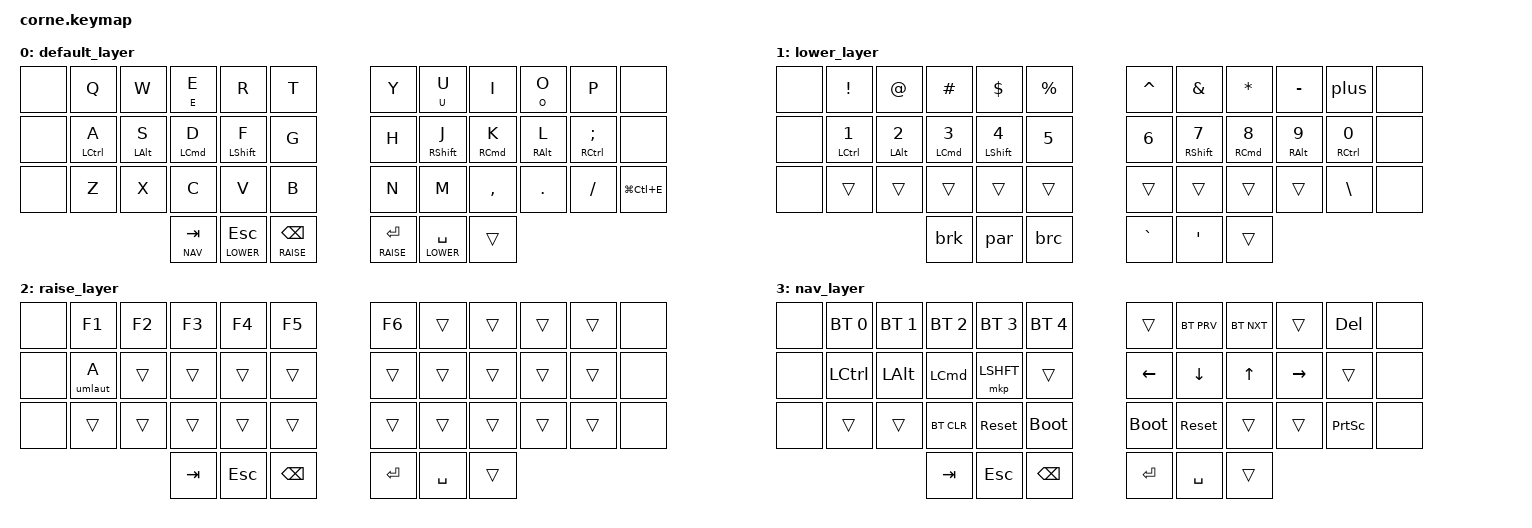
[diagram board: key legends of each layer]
/*
 * Copyright (c) 2020 The ZMK Contributors
 *
 * SPDX-License-Identifier: MIT
 */

#include <behaviors.dtsi>
#include <dt-bindings/zmk/keys.h>
#include <dt-bindings/zmk/bt.h>

#define DEFAULT 0
#define LOWER   1
#define RAISE   2
#define NAV     3

// todo: make dongle work.
// https://github.com/zmkfirmware/zmk/tree/main/app/boards/shields/corne
// https://github.com/aroum/zmk-enki42
// todo: prevent homerow mods on the same half
// set OS layout to U.S. Ansi

&lt {
    quick-tap-ms = <200>;
    flavor = "balanced";
};

&caps_word {
    continue-list = <UNDERSCORE MINUS>;
};

/ {
    behaviors {
        hm: hold_preferred_homerow_mods {
            compatible = "zmk,behavior-hold-tap";
            #binding-cells = <2>;
            tapping-term-ms = <150>;
            quick-tap-ms = <200>;
            require-prior-idle-ms = <125>;
            flavor = "hold-preferred";
            bindings = <&kp>, <&kp>;
        };
        tm: tap_preferred_homerow_mods {
            compatible = "zmk,behavior-hold-tap";
            #binding-cells = <2>;
            tapping-term-ms = <150>;
            quick-tap-ms = <200>;
            require-prior-idle-ms = <125>;
            flavor = "tap-preferred";
            bindings = <&kp>, <&kp>;
        };
        eu: tap_preferred_euro_mods {
            compatible = "zmk,behavior-hold-tap";
            // behavior-hold-tap must have two parameters even though we're only using the second
            #binding-cells = <2>;
            tapping-term-ms = <150>;
            quick-tap-ms = <200>;
            require-prior-idle-ms = <125>;
            flavor = "tap-preferred";
            // long press will run the euro macro
            bindings = <&euro>, <&kp>;
        };
        um: tap_preferred_umlaut_mods {
            compatible = "zmk,behavior-hold-tap";
            #binding-cells = <2>;
            tapping-term-ms = <150>;
            quick-tap-ms = <200>;
            require-prior-idle-ms = <125>;
            flavor = "tap-preferred";
            // long press: umlaut with first param
            // tap: keypress second param
            bindings = <&umlaut>, <&kp>;
        };
        plus: plus_equals {
            compatible = "zmk,behavior-mod-morph";
            #binding-cells = <0>;
            bindings = <&kp PLUS>, <&kp EQUAL>;
            mods = <(MOD_LSFT|MOD_RSFT)>;
        };
        par: paranthesis {
            compatible = "zmk,behavior-mod-morph";
            #binding-cells = <0>;
            bindings = <&kp LPAR>, <&kp RPAR>;
            mods = <(MOD_LSFT|MOD_RSFT)>;
        };
        brc: curly_braces {
            compatible = "zmk,behavior-mod-morph";
            #binding-cells = <0>;
            bindings = <&kp LBRC>, <&kp RBRC>;
            mods = <(MOD_LSFT|MOD_RSFT)>;
        };
        brk: brackets {
            compatible = "zmk,behavior-mod-morph";
            #binding-cells = <0>;
            bindings = <&kp LBKT>, <&kp RBKT>;
            mods = <(MOD_LSFT|MOD_RSFT)>;
        };
    };
    macros {
        umlaut: umlaut {
            compatible = "zmk,behavior-macro-one-param";
            #binding-cells = <1>;
            bindings =
                <&macro_tap &kp K_CMENU>, // menu key is mapped to compose key
                <&macro_tap &kp DQT>,
                <&macro_tap>, // tap the key provided by params
                <&macro_param_1to1 &kp MACRO_PLACEHOLDER>;
        };
        euro: euro {
            compatible = "zmk,behavior-macro";
            #binding-cells = <0>;
            bindings =
                <&macro_tap &kp K_CMENU>,
                <&macro_tap &kp C>,
                <&macro_tap &kp EQUAL>;
        };
    };
        keymap {
                compatible = "zmk,keymap";

        default_layer {
            bindings = <
// ╭───────┬─────────────┬────────────┬────────────┬─────────────┬───────╮   ╭───────┬─────────────┬────────────┬────────────┬────────────────┬───────────────╮
     &none      &kp Q        &kp W        &eu E E       &kp R      &kp T       &kp Y     &um U U       &kp I       &um O O         &kp P            &none
// ├───────┼─────────────┼────────────┼────────────┼─────────────┼───────┤   ├───────┼─────────────┼────────────┼────────────┼────────────────┼───────────────┤
     &none   &tm LCTRL A   &tm LALT S   &tm LCMD D   &hm LSHFT F   &kp G       &kp H   &hm RSHFT J   &tm RCMD K   &tm RALT L   &tm RCTRL SEMI       &none
// ├───────┼─────────────┼────────────┼────────────┼─────────────┼───────┤   ├───────┼─────────────┼────────────┼────────────┼────────────────┼───────────────╯
     &none      &kp Z        &kp X        &kp C         &kp V      &kp B       &kp N      &kp M      &kp COMMA     &kp DOT        &kp FSLH      &kp LG(LC(E))
// ╰───────┴─────────────┴────────────┼────────────┼─────────────┼───────┤   ├───────┼─────────────┼────────────┴────────────┴────────────────┴───────────────╯
                          &lt NAV TAB    &lt LOWER ESC    &lt RAISE BSPC       &lt RAISE RET   &lt LOWER SPACE   &trans
//                    ╰───────────────┴─────────────────┴────────────────╯   ╰───────────────┴─────────────────╯
            >;
        };


        lower_layer {
            bindings = <
// ╭───────┬──────────────┬─────────────┬─────────────┬──────────────┬───────────╮   ╭───────────┬──────────────┬─────────────┬─────────────┬──────────────┬───────╮
     &none     &kp EXCL       &kp AT       &kp HASH       &kp DLLR     &kp PRCNT       &kp CARET     &kp AMPS      &kp STAR      &kp MINUS       &plus       &none
// ├───────┼──────────────┼─────────────┼─────────────┼──────────────┼───────────┤   ├───────────┼──────────────┼─────────────┼─────────────┼──────────────┼───────┤
     &none   &tm LCTRL N1   &tm LALT N2   &tm LCMD N3   &hm LSHFT N4     &kp N5         &kp N6     &hm RSHFT N7   &tm RCMD N8   &tm RALT N9   &tm RCTRL N0   &none
// ├───────┼──────────────┼─────────────┼─────────────┼──────────────┼───────────┤   ├───────────┼──────────────┼─────────────┼─────────────┼──────────────┼───────┤
     &none      &trans        &trans        &trans         &trans       &trans          &trans        &trans        &trans        &trans        &kp BSLH      &none
// ╰───────┴──────────────┴─────────────┼─────────────┼──────────────┼───────────┤   ├───────────┼──────────────┼─────────────┴─────────────┴──────────────┴───────╯
                                            &brk            &par         &brc          &kp GRAVE     &kp SQT      &trans
//                                      ╰─────────────┴──────────────┴───────────╯   ╰───────────┴──────────────╯
            >;
        };

        raise_layer {
            bindings = <
// ╭───────┬───────────┬────────┬────────┬────────┬────────╮   ╭────────┬────────────────┬───────────────┬──────────┬────────┬───────╮
     &none    &kp F1     &kp F2   &kp F3   &kp F4   &kp F5       &kp F6     &trans           &trans         &trans    &trans   &none
// ├───────┼───────────┼────────┼────────┼────────┼────────┤   ├────────┼────────────────┼───────────────┼──────────┼────────┼───────┤
     &none   &umlaut A   &trans   &trans   &trans   &trans       &trans      &trans           &trans       &trans     &trans   &none
// ├───────┼───────────┼────────┼────────┼────────┼────────┤   ├────────┼────────────────┼───────────────┼──────────┼────────┼───────┤
     &none     &trans    &trans   &trans   &trans   &trans       &trans      &trans           &trans       &trans     &trans   &none
// ╰───────┴───────────┴────────┼────────┼────────┼────────┤   ├────────┼────────────────┼───────────────┴──────────┴────────┴───────╯
                             &kp TAB   &kp ESC    &kp BSPC       &kp RET   &kp SPACE   &trans
//                         ╰────────┴───────────┴──────────╯   ╰─────────┴───────────╯
            >;
        };

        nav_layer {
            bindings = <
// ╭──────────────┬──────────────┬──────────────┬──────────────┬──────────────╮   ╭────────────┬────────────┬──────────┬───────────┬─────────────╮
&none &bt BT_SEL 0   &bt BT_SEL 1   &bt BT_SEL 2   &bt BT_SEL 3   &bt BT_SEL 4        &trans      &bt BT_PRV  &bt BT_NXT   &trans     &kp DEL      &none
// ├──────────────┼──────────────┼──────────────┼──────────────┼──────────────┤   ├────────────┼────────────┼──────────┼───────────┼─────────────┤
&none  &kp LCTRL       &kp LALT       &kp LCMD      &mkp LSHFT    &trans             &kp LEFT      &kp DOWN     &kp UP    &kp RIGHT   &trans       &none
// ├──────────────┼──────────────┼──────────────┼──────────────┼──────────────┤   ├────────────┼────────────┼──────────┼───────────┼─────────────┤
&none   &trans         &trans       &bt BT_CLR     &sys_reset    &bootloader        &bootloader  &sys_reset    &trans     &trans      &kp PSCRN    &none
// ╰──────────────┴──────────────┼──────────────┼──────────────┼──────────────┤   ├────────────┼────────────┼──────────┴───────────┴─────────────╯
                                                 &kp TAB    &kp ESC   &kp BSPC      &kp RET    &kp SPACE   &trans
//                                             ╰─────────┴───────────┴────────╯   ╰──────────┴───────────┴─────────╯
            >;
        };
    };
};
